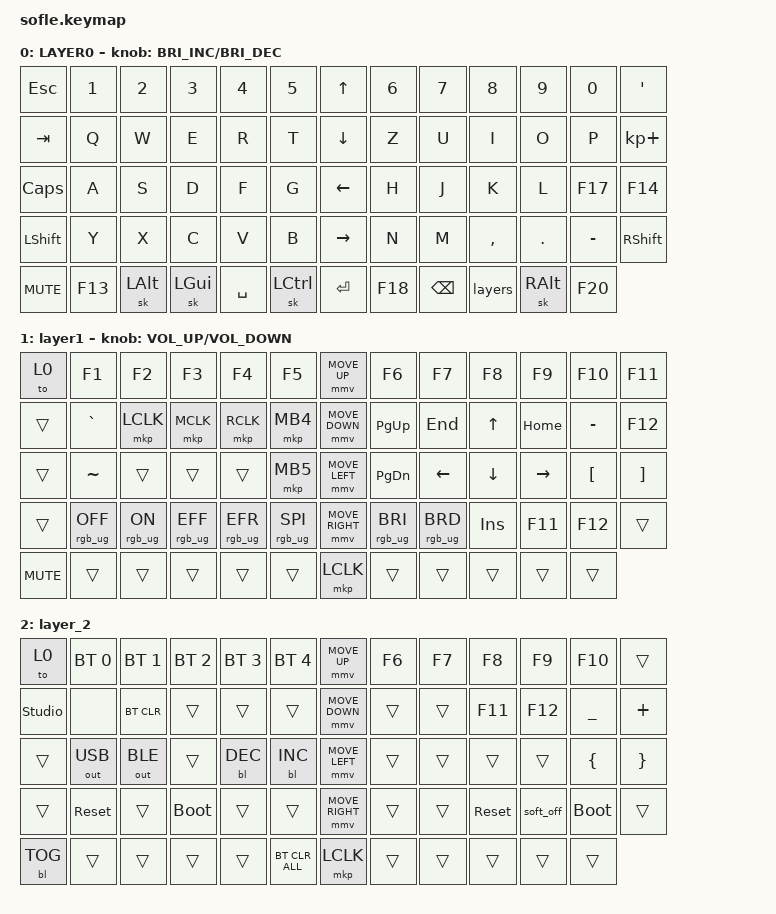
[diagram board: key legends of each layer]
#include <behaviors/mouse_keys.dtsi>
#include <dt-bindings/zmk/mouse.h>
#include <behaviors.dtsi>
#include <dt-bindings/zmk/backlight.h>
#include <dt-bindings/zmk/bt.h>
#include <dt-bindings/zmk/keys.h>
#include <dt-bindings/zmk/outputs.h>
#include <dt-bindings/zmk/pointing.h>
#include <dt-bindings/zmk/pointing.h>
#include <dt-bindings/zmk/rgb.h>

#define ZMK_MOUSE_DEFAULT_MOVE_VAL 1200  // 600
#define ZMK_MOUSE_DEFAULT_SCRL_VAL 20    // 10
#define U_MS_U &mmv MOVE_UP
#define U_MS_D &mmv MOVE_DOWN
#define U_MS_L &mmv MOVE_LEFT
#define U_MS_R &mmv MOVE_RIGHT
#define ZMK_MOUSE_DEFAULT_MOVE_VAL 1200  //  600
#define ZMK_MOUSE_DEFAULT_SCRL_VAL 20    // 10

&inc_dec_kp {
    bindings = <&encoder_increment>, <&encoder_decrement>;
};

/ {
    behaviors {
        mmv {
            acceleration-exponent = <1>;      // 1
            time-to-max-speed-ms = <900>;    // 40
            delay-ms = <0>;                   // 0
        };

        msc {
            acceleration-exponent = <1>;      // 0
            time-to-max-speed-ms = <400>;      // 500
            delay-ms = <0>;                   //   10
        };

        encoder_increment: encoder_increment {
            compatible = "zmk,behavior-mod-morph";
            label = "ENCODER_INCREMENT";
            bindings = <&kp C_BRIGHTNESS_INC>, <&kp C_VOLUME_UP>;

            #binding-cells = <0>;
            mods = <(MOD_LCTL|MOD_RCTL)>;
        };

        encoder_decrement: encoder_decrement {
            compatible = "zmk,behavior-mod-morph";
            label = "ENCODER_DECREMENT";
            bindings = <&kp C_BRIGHTNESS_DEC>, <&kp C_VOLUME_DOWN>;

            #binding-cells = <0>;
            mods = <(MOD_LCTL|MOD_RCTL)>;
        };

        layers: layers {
            compatible = "zmk,behavior-tap-dance";
            label = "LAYERS";
            #binding-cells = <0>;
            bindings = <&to 0>, <&sl 1>, <&tog 2>;

            tapping-term-ms = <350>;
        };
    };

    combos { compatible = "zmk,combos"; };

    keymap {
        compatible = "zmk,keymap";

        layer0 {
            bindings = <
&kp ESC     &kp N1   &kp N2    &kp N3    &kp N4     &kp N5       &kp UP_ARROW     &kp N6   &kp N7         &kp N8     &kp N9    &kp N0     &kp SQT
&kp TAB     &kp Q    &kp W     &kp E     &kp R      &kp T        &kp DOWN_ARROW   &kp Z    &kp U          &kp I      &kp O     &kp P      &kp KP_PLUS
&kp CAPS    &kp A    &kp S     &kp D     &kp F      &kp G        &kp LEFT_ARROW   &kp H    &kp J          &kp K      &kp L     &kp F17    &kp F14
&kp LSHFT   &kp Y    &kp X     &kp C     &kp V      &kp B        &kp RIGHT_ARROW  &kp N    &kp M          &kp COMMA  &kp DOT   &kp MINUS  &kp RIGHT_SHIFT
&kp C_MUTE  &kp F13  &sk LALT  &sk LGUI  &kp SPACE  &sk LCTRL    &kp RET          &kp F18  &kp BACKSPACE  &layers    &sk RALT  &kp F20
            >;

            sensor-bindings = <&inc_dec_kp C_BRIGHTNESS_INC C_BRIGHTNESS_DEC>;
            display-name = "LAYER0";
        };

        layer_1 {
            bindings = <
&to 0       &kp F1           &kp F2          &kp F3           &kp F4           &kp F5             &mmv MOVE_UP     &kp F6           &kp F7           &kp F8      &kp F9     &kp F10           &kp F11
&trans      &kp GRAVE        &mkp LCLK       &mkp MCLK        &mkp RCLK        &mkp MB4           &mmv MOVE_DOWN   &kp PG_UP        &kp END          &kp UP      &kp HOME   &kp MINUS         &kp F12
&trans      &kp TILDE        &trans          &trans           &trans           &mkp MB5           &mmv MOVE_LEFT   &kp PG_DN        &kp LEFT         &kp DOWN    &kp RIGHT  &kp LEFT_BRACKET  &kp RIGHT_BRACKET
&trans      &rgb_ug RGB_OFF  &rgb_ug RGB_ON  &rgb_ug RGB_EFF  &rgb_ug RGB_EFR  &rgb_ug RGB_SPI    &mmv MOVE_RIGHT  &rgb_ug RGB_BRI  &rgb_ug RGB_BRD  &kp INSERT  &kp F11    &kp F12           &trans
&kp C_MUTE  &trans           &trans          &trans           &trans           &trans             &mkp LCLK        &trans           &trans           &trans      &trans     &trans
            >;

            display-name = "layer1";
            sensor-bindings = <&inc_dec_kp C_VOLUME_UP C_VOLUME_DOWN>;
        };

        layer_2 {
            bindings = <
&to 0           &bt BT_SEL 0  &bt BT_SEL 1  &bt BT_SEL 2  &bt BT_SEL 3  &bt BT_SEL 4      &mmv MOVE_UP     &kp F6  &kp F7  &kp F8      &kp F9     &kp F10      &trans
&studio_unlock  &none         &bt BT_CLR    &trans        &trans        &trans            &mmv MOVE_DOWN   &trans  &trans  &kp F11     &kp F12    &kp UNDER    &kp PLUS
&trans          &out OUT_USB  &out OUT_BLE  &trans        &bl BL_DEC    &bl BL_INC        &mmv MOVE_LEFT   &trans  &trans  &trans      &trans     &kp LBRC     &kp RBRC
&trans          &sys_reset    &trans        &bootloader   &trans        &trans            &mmv MOVE_RIGHT  &trans  &trans  &sys_reset  &soft_off  &bootloader  &trans
&bl BL_TOG      &trans        &trans        &trans        &trans        &bt BT_CLR_ALL    &mkp LCLK        &trans  &trans  &trans      &trans     &trans
            >;
        };
    };
};
